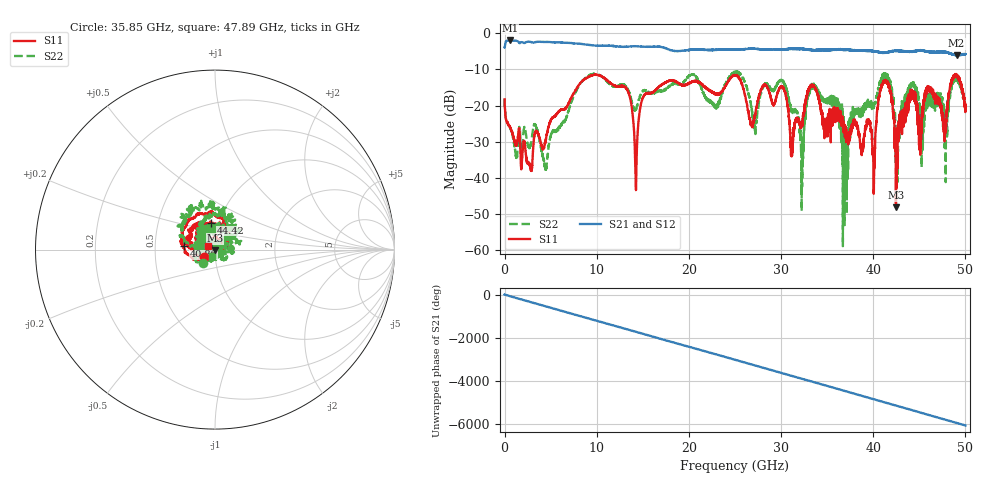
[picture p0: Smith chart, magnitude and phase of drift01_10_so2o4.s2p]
!Created with skrf (http://scikit-rf.org).
# Hz S RI R 50.0
!freq ReS11 ImS11 ReS21 ImS21 ReS12 ImS12 ReS22 ImS22
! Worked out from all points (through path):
!   10001 points, 300 kHz to 50 GHz, reference 50 ohm
!   highest |S21| = -2.00 dB at 570.3 MHz (marker M1); lowest = -6.2 dB at 49.05 GHz (marker M2)
!   group delay of S21, straight-line fit = 336 ps
!   lowest |S11| = -48.1 dB at 42.47 GHz (marker M3), VSWR 1.01, Z = 50 - j0.39 ohm
!   |S11| at or under -10 dB: start of sweep to end of sweep
!   |S22| runs from -58.9 to -10.5 dB; largest |S21 - S12| = 0.019
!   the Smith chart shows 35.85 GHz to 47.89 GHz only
!   S11 on the Smith chart (normalised r, x): 35.85 GHz: 0.89, -0.07; 40.86 GHz: 0.70, +0.03; 44.42 GHz: 0.92, +0.28; 47.89 GHz: 0.92, +0.04
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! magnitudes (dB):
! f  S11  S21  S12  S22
! 300 kHz  -18.3  -3.9  -4.0  -18.1
! 570.3 MHz  -26.0  -2.0  -2.0  -26.1
! 4.435 GHz  -29.8  -2.4  -2.4  -37.0
! 8.335 GHz  -13.4  -3.0  -3.0  -13.5
! 13.16 GHz  -15.1  -3.8  -3.8  -14.7
! 14.25 GHz  -42.7  -3.6  -3.6  -21.1
! 16.67 GHz  -14.9  -3.7  -3.7  -15.9
! 25 GHz  -11.6  -4.5  -4.6  -10.9
! 27.15 GHz  -22.9  -4.3  -4.3  -26.2
! 30.2 GHz  -15.1  -4.5  -4.5  -13.4
! 32.24 GHz  -24.6  -4.4  -4.4  -49.1
! 33.34 GHz  -14.4  -4.7  -4.6  -14.6
! 35.85 GHz  -22.9  -4.6  -4.6  -20.3
! 37.04 GHz  -27.2  -4.6  -4.5  -26.4
! 40.02 GHz  -37.4  -4.9  -4.9  -20.6
! 40.86 GHz  -15.2  -5.4  -5.4  -12.8
! 41.67 GHz  -14.6  -5.1  -5.2  -12.8
! 42.47 GHz  -48.1  -4.9  -4.9  -34.2
! 44.42 GHz  -16.4  -5.1  -5.0  -14.5
! 47.89 GHz  -27.0  -5.2  -5.2  -28.6
! 49.05 GHz  -11.7  -6.2  -6.1  -12.3
! 50 GHz  -19.8  -5.8  -5.9  -19.8
